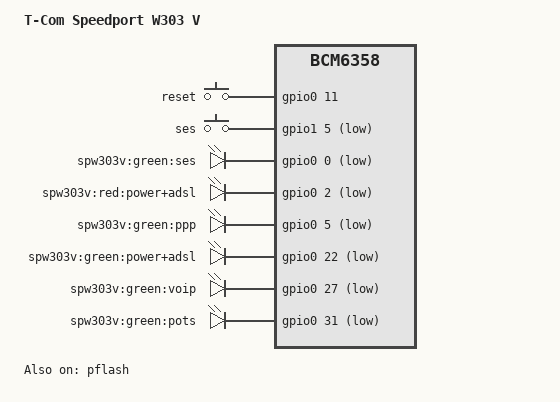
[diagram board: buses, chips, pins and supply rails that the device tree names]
/dts-v1/;

/include/ "bcm6358.dtsi"

/ {
	model = "T-Com Speedport W303 V";
	compatible = "t-com,spw303v", "brcm,bcm6358";

	gpio-keys-polled {
		compatible = "gpio-keys-polled";
		#address-cells = <1>;
		#size-cells = <0>;
		poll-interval = <20>;
		debounce-interval = <60>;

		reset {
			label = "reset";
			gpios = <&gpio0 11 0>;
			linux,code = <0x198>;
		};
		ses {
			label = "ses";
			gpios = <&gpio1 5 1>;
			linux,code = <0x211>;
		};
	};

	gpio-leds {
		compatible = "gpio-leds";

		ses_green {
			label = "spw303v:green:ses";
			gpios = <&gpio0 0 1>;
		};
		power_adsl_red {
			label = "spw303v:red:power+adsl";
			gpios = <&gpio0 2 1>;
		};
		ppp_green {
			label = "spw303v:green:ppp";
			gpios = <&gpio0 5 1>;
		};
		power_adsl_green {
			label = "spw303v:green:power+adsl";
			gpios = <&gpio0 22 1>;
			default-state = "on";
		};
		voip_green {
			label = "spw303v:green:voip";
			gpios = <&gpio0 27 1>;
		};
		pots_green {
			label = "spw303v:green:pots";
			gpios = <&gpio0 31 1>;
		};
	};
};

&pflash {
	status = "ok";

	linux,part-probe = "bcm63xxpart";

	cfe@0 {
		label = "CFE";
		reg = <0x000000 0x010000>;
		read-only;
	};

	linux@10000 {
		label = "linux";
		reg = <0x010000 0x7e0000>;
	};

	nvram@7f0000 {
		label = "nvram";
		reg = <0x7f0000 0x010000>;
	};
};
